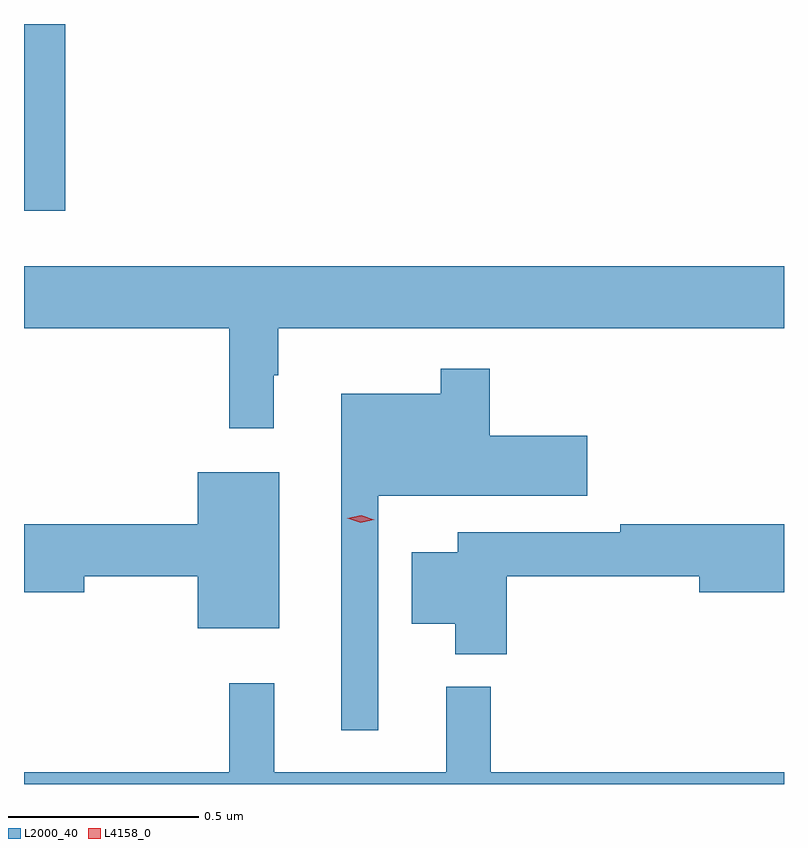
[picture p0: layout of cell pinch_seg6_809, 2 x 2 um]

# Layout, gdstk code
import gdstk
lib = gdstk.Library(unit=1e-6, precision=1e-09)
def R(c, l, rs):  # rectangles x0, y0, x1, y1
    for r in rs: c.add(gdstk.rectangle(r[:2], r[2:], *l))
def P(c, l, *ps):  # polygons
    for p in ps: c.add(gdstk.Polygon(p, *l))
L2000_40 = (2000, 40)
L4158_0 = (4158, 0)

pinch_seg6_809 = lib.new_cell('pinch_seg6_809')
R(pinch_seg6_809, L2000_40, [(366.031,972.954,366.14,973.445)])
P(pinch_seg6_809, L2000_40, [(366.688,972.521),(366.7,972.521),(366.7,972.644),(368.031,972.644),(368.031,972.808),(366.031,972.808),(366.031,972.644),(366.571,972.644),(366.571,972.381),(366.688,972.381)],
  [(366.963,972.203),(367.513,972.203),(367.513,972.361),(367.256,972.361),(367.256,972.538),(367.128,972.538),(367.128,972.472),(366.866,972.472),(366.866,971.586),(366.963,971.586)],
  [(366.703,972.265),(366.488,972.265),(366.488,972.128),(366.031,972.128),(366.031,971.95),(366.19,971.95),(366.19,971.992),(366.488,971.992),(366.488,971.855),(366.703,971.855)],
  [(367.301,971.992),(367.808,971.992),(367.808,971.95),(368.031,971.95),(368.031,972.128),(367.6,972.128),(367.6,972.108),(367.172,972.108),(367.172,972.055),(367.052,972.055),(367.052,971.867),(367.166,971.867),(367.166,971.786),(367.301,971.786)],
  [(368.031,971.476),(367.259,971.476),(367.259,971.701),(367.142,971.701),(367.142,971.476),(366.689,971.476),(366.689,971.71),(366.571,971.71),(366.571,971.476),(366.031,971.476),(366.031,971.445),(368.031,971.445)])
P(pinch_seg6_809, L4158_0, [(366.917,972.132),(366.882,972.144),(366.882,972.144),(366.882,972.144),(366.918,972.152),(366.953,972.141),(366.953,972.141),(366.953,972.141)])

lib.write_gds('pinch_seg6_809.gds')
